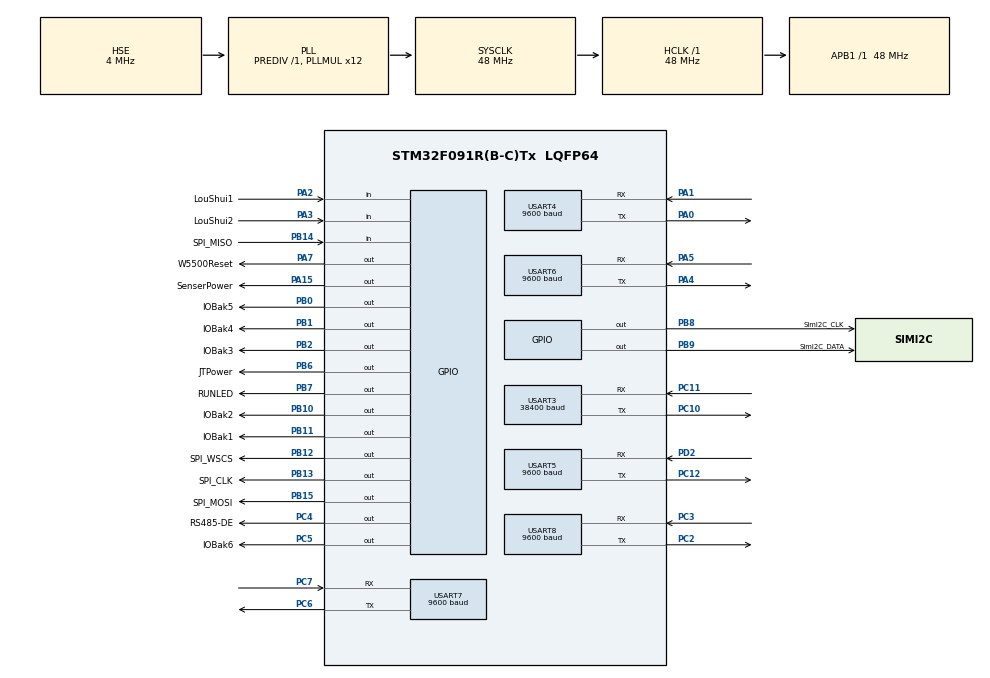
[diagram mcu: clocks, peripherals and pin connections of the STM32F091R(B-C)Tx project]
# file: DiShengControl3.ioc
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IWDG.Prescaler=IWDG_PRESCALER_256
IWDG.Reload=4095
IWDG.Window=4095
Mcu.Family=STM32F0
Mcu.Name=STM32F091R(B-C)Tx
Mcu.Package=LQFP64
NVIC.TIM17_IRQn=true\:0\:0\:false\:false\:true\:true\:true
NVIC.USART3_8_IRQn=true\:0\:0\:false\:false\:true\:true\:true
PA0.Mode=Asynchronous
PA0.Signal=USART4_TX
PA1.Mode=Asynchronous
PA1.Signal=USART4_RX
PA13.Mode=Serial_Wire
PA13.Signal=SYS_SWDIO
PA14.Mode=Serial_Wire
PA14.Signal=SYS_SWCLK
PA15.GPIO_Label=SenserPower
PA15.PinState=GPIO_PIN_SET
PA15.Signal=GPIO_Output
PA2.GPIO_Label=LouShui1
PA2.Signal=GPIO_Input
PA3.GPIO_Label=LouShui2
PA3.Signal=GPIO_Input
PA4.Mode=Asynchronous
PA4.Signal=USART6_TX
PA5.Mode=Asynchronous
PA5.Signal=USART6_RX
PA7.GPIO_Label=W5500Reset
PA7.PinState=GPIO_PIN_SET
PA7.Signal=GPIO_Output
PB0.GPIO_Label=IOBak5
PB0.Signal=GPIO_Output
PB1.GPIO_Label=IOBak4
PB1.Signal=GPIO_Output
PB10.GPIO_Label=IOBak2
PB10.Signal=GPIO_Output
PB11.GPIO_Label=IOBak1
PB11.Signal=GPIO_Output
PB12.GPIO_Label=SPI_WSCS
PB12.GPIO_Speed=GPIO_SPEED_FREQ_LOW
PB12.PinState=GPIO_PIN_SET
PB12.Signal=GPIO_Output
PB13.GPIO_Label=SPI_CLK
PB13.GPIO_Speed=GPIO_SPEED_FREQ_HIGH
PB13.Signal=GPIO_Output
PB14.GPIO_Label=SPI_MISO
PB14.Signal=GPIO_Input
PB15.GPIO_Label=SPI_MOSI
PB15.GPIO_Speed=GPIO_SPEED_FREQ_HIGH
PB15.Signal=GPIO_Output
PB2.GPIO_Label=IOBak3
PB2.Signal=GPIO_Output
PB6.GPIO_Label=JTPower
PB6.PinState=GPIO_PIN_SET
PB6.Signal=GPIO_Output
PB7.GPIO_Label=RUNLED
PB7.Signal=GPIO_Output
PB8.GPIO_FM8=__NULL
PB8.GPIO_Label=SimI2C_CLK
PB8.GPIO_Speed=GPIO_SPEED_FREQ_LOW
PB8.Signal=GPIO_Output
PB9.GPIO_Label=SimI2C_DATA
PB9.Signal=GPIO_Output
PC10.Mode=Asynchronous
PC10.Signal=USART3_TX
PC11.Mode=Asynchronous
PC11.Signal=USART3_RX
PC12.Mode=Asynchronous
PC12.Signal=USART5_TX
PC2.Mode=Asynchronous
PC2.Signal=USART8_TX
PC3.Mode=Asynchronous
PC3.Signal=USART8_RX
PC4.GPIO_Label=RS485-DE
PC4.PinState=GPIO_PIN_RESET
PC4.Signal=GPIO_Output
PC5.GPIO_Label=IOBak6
PC5.Signal=GPIO_Output
PC6.Mode=Asynchronous
PC6.Signal=USART7_TX
PC7.Mode=Asynchronous
PC7.Signal=USART7_RX
PD2.Mode=Asynchronous
PD2.Signal=USART5_RX
PF0-OSC_IN.Mode=HSE-External-Oscillator
PF0-OSC_IN.Signal=RCC_OSC_IN
PF1-OSC_OUT.Mode=HSE-External-Oscillator
PF1-OSC_OUT.Signal=RCC_OSC_OUT
ProjectManager.HeapSize=0x200
ProjectManager.StackSize=0x400
ProjectManager.TargetToolchain=Other Toolchains (GPDSC)
RCC.AHBFreq_Value=48000000
RCC.APB1Freq_Value=48000000
RCC.APB1TimFreq_Value=48000000
RCC.HCLKFreq_Value=48000000
RCC.HSE_VALUE=4000000
RCC.PLLMUL=RCC_PLL_MUL12
RCC.PLLSourceVirtual=RCC_PLLSOURCE_HSE
RCC.SYSCLKFreq_VALUE=48000000
RCC.SYSCLKSource=RCC_SYSCLKSOURCE_PLLCLK
TIM17.ClockDivision=TIM_CLOCKDIVISION_DIV1
TIM17.Period=60000
TIM17.Prescaler=48000
USART3.BaudRate=38400
USART3.VirtualMode-Asynchronous=VM_ASYNC
USART3.WordLength=WORDLENGTH_8B
USART4.BaudRate=9600
USART4.VirtualMode-Asynchronous=VM_ASYNC
USART4.WordLength=WORDLENGTH_8B
USART5.BaudRate=9600
USART5.VirtualMode-Asynchronous=VM_ASYNC
USART5.WordLength=WORDLENGTH_8B
USART6.BaudRate=9600
USART6.StopBits=STOPBITS_2
USART6.VirtualMode=VM_ASYNC
USART6.WordLength=WORDLENGTH_8B
USART7.BaudRate=9600
USART7.VirtualMode=VM_ASYNC
USART7.WordLength=WORDLENGTH_8B
USART8.BaudRate=9600
USART8.VirtualMode=VM_ASYNC
USART8.WordLength=WORDLENGTH_8B
VP_IWDG_VS_IWDG.Mode=IWDG_Activate
VP_TIM17_VS_ClockSourceINT.Mode=Enable_Timer
board=DiShengControl3

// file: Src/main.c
/**
  ******************************************************************************
  * File Name          : main.c
  * Description        : Main program body
  ******************************************************************************
  ** This notice applies to any and all portions of this file
  * that are not between comment pairs USER CODE BEGIN and
  * USER CODE END. Other portions of this file, whether
  * inserted by the user or by software development tools
  * are owned by their respective copyright owners.
  *
  * COPYRIGHT(c) 2018 STMicroelectronics
  *
  * Redistribution and use in source and binary forms, with or without modification,
  * are permitted provided that the following conditions are met:
  *   1. Redistributions of source code must retain the above copyright notice,
  *      this list of conditions and the following disclaimer.
  *   2. Redistributions in binary form must reproduce the above copyright notice,
  *      this list of conditions and the following disclaimer in the documentation
  *      and/or other materials provided with the distribution.
  *   3. Neither the name of STMicroelectronics nor the names of its contributors
  *      may be used to endorse or promote products derived from this software
  *      without specific prior written permission.
  *
  * THIS SOFTWARE IS PROVIDED BY THE COPYRIGHT HOLDERS AND CONTRIBUTORS "AS IS"
  * AND ANY EXPRESS OR IMPLIED WARRANTIES, INCLUDING, BUT NOT LIMITED TO, THE
  * IMPLIED WARRANTIES OF MERCHANTABILITY AND FITNESS FOR A PARTICULAR PURPOSE ARE
  * DISCLAIMED. IN NO EVENT SHALL THE COPYRIGHT HOLDER OR CONTRIBUTORS BE LIABLE
  * FOR ANY DIRECT, INDIRECT, INCIDENTAL, SPECIAL, EXEMPLARY, OR CONSEQUENTIAL
  * DAMAGES (INCLUDING, BUT NOT LIMITED TO, PROCUREMENT OF SUBSTITUTE GOODS OR
  * SERVICES; LOSS OF USE, DATA, OR PROFITS; OR BUSINESS INTERRUPTION) HOWEVER
  * CAUSED AND ON ANY THEORY OF LIABILITY, WHETHER IN CONTRACT, STRICT LIABILITY,
  * OR TORT (INCLUDING NEGLIGENCE OR OTHERWISE) ARISING IN ANY WAY OUT OF THE USE
  * OF THIS SOFTWARE, EVEN IF ADVISED OF THE POSSIBILITY OF SUCH DAMAGE.
  *
  ******************************************************************************
  */

#include "main.h"
#include "stm32f0xx_hal.h"
#include "iwdg.h"
#include "tim.h"
#include "usart.h"
#include "gpio.h"

/* USER CODE BEGIN Includes */
#include "wfSys.h"
#include "SimSPI.h"
#include "w5500_Work.h"
#include "..\wf\TCM.h"
#include "..\wf\Variables.h"
#include "ModbusRTU_Master.h"
#include "SimI2C.h"
#include "MS8607.h"
#include "RIO.h"
#include "..\..\..\WF_Device\NMEA0183.h"
#include "..\..\..\WF_Device\GPS_GPRMC.h"
#include "wfDefine.h"
#include "..\..\..\WF_Device\stm32\wfEEPROM.h"
/* USER CODE END Includes */

/* USER CODE BEGIN PV */
/* Private variables ---------------------------------------------------------*/
uint32_t RunTick;
uint32_t RIOSeconds;
uint32_t bRIONewData;
uint32_t ReadSensorTick;
/* USER CODE END PV */

void SystemClock_Config(void);

/* USER CODE BEGIN PFP */
/* Private function prototypes -----------------------------------------------*/

/* USER CODE END PFP */

int main(void)
{

  /* USER CODE BEGIN 1 */
	uint32_t i,sum;
  /* USER CODE END 1 */

  /* MCU Configuration----------------------------------------------------------*/

  /* Reset of all peripherals, Initializes the Flash interface and the Systick. */
  HAL_Init();

  /* Configure the system clock */
  SystemClock_Config();

  /* Initialize all configured peripherals */
  MX_GPIO_Init();
  MX_USART6_UART_Init();
  MX_USART3_UART_Init();
  MX_USART5_UART_Init();
  MX_USART7_UART_Init();
  MX_USART4_UART_Init();
  MX_USART8_UART_Init();
  MX_IWDG_Init();
  MX_TIM17_Init();

  /* USER CODE BEGIN 2 */
  TIM17->CR1 |= TIM_CR1_URS;
  wfDelay_init(48);
  Reset_W5500();

  //ResetSystemParam();

  InitSystemParam();
  SimSPI_Init();
  w5500LibInit();
  SenserPower_ON();
  JTPower_ON();
  SimI2C_Init();
  MS8607_Init();
  ModbusRTU_Master_TargetAddr=1;
  HAL_UART_Receive_IT(&TCMUart,&TCM_Rx,1);
  HAL_UART_Receive_IT(&ModbusRTU_MasterUart,&ModbusRTU_MasterRx,1);
  HAL_UART_Receive_IT(&RIOUart,&RIO_Rx,1);
  HAL_UART_Receive_IT(&GPRSUart,&GPRSRx,1);
  __HAL_TIM_CLEAR_IT(&htim17, TIM_IT_UPDATE);
  HAL_TIM_Base_Start_IT(&htim17);
  RIOSeconds=3600;
  bRIONewData=0;
  /* USER CODE END 2 */

  /* Infinite loop */
  /* USER CODE BEGIN WHILE */
  //i=1/0;
  while (1)
  {
  /* USER CODE END WHILE */

  /* USER CODE BEGIN 3 */
	  HAL_IWDG_Refresh(&hiwdg);
	  if(w5500Retry>10)
	  {
		  w5500Retry=0;
		  MissServer=0;
		  //NVIC_SystemReset();
	  }
	  if(MissServer>10)
	  {
		  Reset_W5500();
		  w5500LibInit();
		  MissServer=0;
		  w5500Retry++;
	  }
	  if(GetDeltaTick(RunTick)>1000)
	  {
		  RunTick=HAL_GetTick();
		  HAL_GPIO_TogglePin(RUNLED_GPIO_Port,RUNLED_Pin);
	  }
	  if(GetDeltaTick(ReadSensorTick)>1000)
	  {
		  ReadSensorTick=HAL_GetTick();
		  TCMErr++;
		  ModbusErr++;
		  MS8607Err++;
		  //RIOErr++;
		  RIOSeconds++;
		  //GPRSErr++;
		  TCM_SendData();
		  ModbusRTU_Master_SendCommand03(0x0006,2);
		  ModbusRTU_Master_preRxProcInit();
		  if(MS8607_Flags.bInit!=0)
		  {
			  if(MS8607_ReadPT(ms8607_pressure_resolution_osr_8192))
				  MS8607Err=0;
			  if(MS8607_ReadRH()!=0)
				  MS8607Err=0;
		  }
		  else
		  {
			  if(MS8607_Init()!=0)
				  MS8607Err=0;
		  }
		  if(bRIORead==0)//配置光功率时，暂停读光源状态,读取一次光源内部存储的光功率值
		  {
			  if(RIO_ReadCommand(0x26)==1)
			  {
				  RIOCur=MAKE_SHORT(RIO_RxList[pRIOData],RIO_RxList[pRIOData+1]);
				  bRIORead=1;
				  RIOErr=0;
			  }
			  else
				  RIOErr++;
		  }
		  else//正常按照时序读取光源状态
		  {
			  if(RIOSeconds>=3600)
			  {
				  RIOSeconds=0;
				  if(RIO_ReadCommand(0x0e)==1)
				  {
					  bRIONewData=1;
					  for(i=0;i<6;i++)
					  {
						  RIO_0E[i]=RIO_RxList[pRIOData+i];
					  }
					  RIOErr=0;
				  }
				  else
					  RIOErr++;
			  }
		  }
	  }
	  if(ModbusRTU_Master_Flags.bRx)
	  {
		  Temperature.u8H=ModbusRTU_Master_RxList[3];
		  Temperature.u8L=ModbusRTU_Master_RxList[4];
		  ModbusErr=0;
	  }
	  if(TCMErr>10)
	  {
		  MX_USART3_UART_Init();
		  HAL_UART_Receive_IT(&TCMUart,&TCM_Rx,1);
		  SenserPower_OFF();
		  wfDelay_ms(50);
		  SenserPower_ON();
		  for(i=0;i<12;i++)
		  {
			  TCMData[i]=0;
		  }
		  TCMErr=0;
	  }
	  if(ModbusErr>10)
	  {
		  MX_USART6_UART_Init();
		  HAL_UART_Receive_IT(&ModbusRTU_MasterUart,&ModbusRTU_MasterRx,1);
		  SenserPower_OFF();
		  wfDelay_ms(50);
		  SenserPower_ON();
		  Temperature.u16=0;
		  ModbusErr=0;
	  }
	  if(NMEA0183_Flags.bRx)
	  {
		  NMEA0183_Verify();
		  if(GPS_GPRMC_DataProc(NMEA0183_RxBuf)!=0)
			  GPRSErr=0;
		  NMEA0183_RxCount=0;
		  NMEA0183_Flags.bRx=0;
	  }
	  if(TCM_Flags.bRx)
	  {
		  for(i=0;i<4;i++)
		  {
			  TCMData[i]=TCM_RxList[5+i];
			  TCMData[4+i]=TCM_RxList[10+i];
			  TCMData[8+i]=TCM_RxList[15+i];
		  }
		  TCMErr=0;
	  }
 	  if(bW5500Net==0)
 		  w5500LibInit();
 	  else
 		  loopback_tcpc();
//  	  wfDelay_ms(50);
//  	  HAL_GPIO_TogglePin(RUNLED_GPIO_Port,RUNLED_Pin);
  }
  /* USER CODE END 3 */

}

/** System Clock Configuration
*/
void SystemClock_Config(void)
{

  RCC_OscInitTypeDef RCC_OscInitStruct;
  RCC_ClkInitTypeDef RCC_ClkInitStruct;
  RCC_PeriphCLKInitTypeDef PeriphClkInit;

    /**Initializes the CPU, AHB and APB busses clocks
    */
  RCC_OscInitStruct.OscillatorType = RCC_OSCILLATORTYPE_LSI|RCC_OSCILLATORTYPE_HSE;
  RCC_OscInitStruct.HSEState = RCC_HSE_ON;
  RCC_OscInitStruct.LSIState = RCC_LSI_ON;
  RCC_OscInitStruct.PLL.PLLState = RCC_PLL_ON;
  RCC_OscInitStruct.PLL.PLLSource = RCC_PLLSOURCE_HSE;
  RCC_OscInitStruct.PLL.PLLMUL = RCC_PLL_MUL12;
  RCC_OscInitStruct.PLL.PREDIV = RCC_PREDIV_DIV1;
  if (HAL_RCC_OscConfig(&RCC_OscInitStruct) != HAL_OK)
  {
    _Error_Handler(__FILE__, __LINE__);
  }

    /**Initializes the CPU, AHB and APB busses clocks
    */
  RCC_ClkInitStruct.ClockType = RCC_CLOCKTYPE_HCLK|RCC_CLOCKTYPE_SYSCLK
                              |RCC_CLOCKTYPE_PCLK1;
  RCC_ClkInitStruct.SYSCLKSource = RCC_SYSCLKSOURCE_PLLCLK;
  RCC_ClkInitStruct.AHBCLKDivider = RCC_SYSCLK_DIV1;
  RCC_ClkInitStruct.APB1CLKDivider = RCC_HCLK_DIV1;

  if (HAL_RCC_ClockConfig(&RCC_ClkInitStruct, FLASH_LATENCY_1) != HAL_OK)
  {
    _Error_Handler(__FILE__, __LINE__);
  }

  PeriphClkInit.PeriphClockSelection = RCC_PERIPHCLK_USART3;
  PeriphClkInit.Usart3ClockSelection = RCC_USART3CLKSOURCE_PCLK1;
  if (HAL_RCCEx_PeriphCLKConfig(&PeriphClkInit) != HAL_OK)
  {
    _Error_Handler(__FILE__, __LINE__);
  }

    /**Configure the Systick interrupt time
    */
  HAL_SYSTICK_Config(HAL_RCC_GetHCLKFreq()/1000);

    /**Configure the Systick
    */
  HAL_SYSTICK_CLKSourceConfig(SYSTICK_CLKSOURCE_HCLK);

  /* SysTick_IRQn interrupt configuration */
  HAL_NVIC_SetPriority(SysTick_IRQn, 1, 0);
}

void _Error_Handler(char * file, int line)
{
  /* USER CODE BEGIN Error_Handler_Debug */
  /* User can add his own implementation to report the HAL error return state */
  while(1)
  {
	  wfDelay_ms(100);
	  HAL_GPIO_TogglePin(RUNLED_GPIO_Port,RUNLED_Pin);
  }
  /* USER CODE END Error_Handler_Debug */
}

/************************ (C) COPYRIGHT STMicroelectronics *****END OF FILE****/
